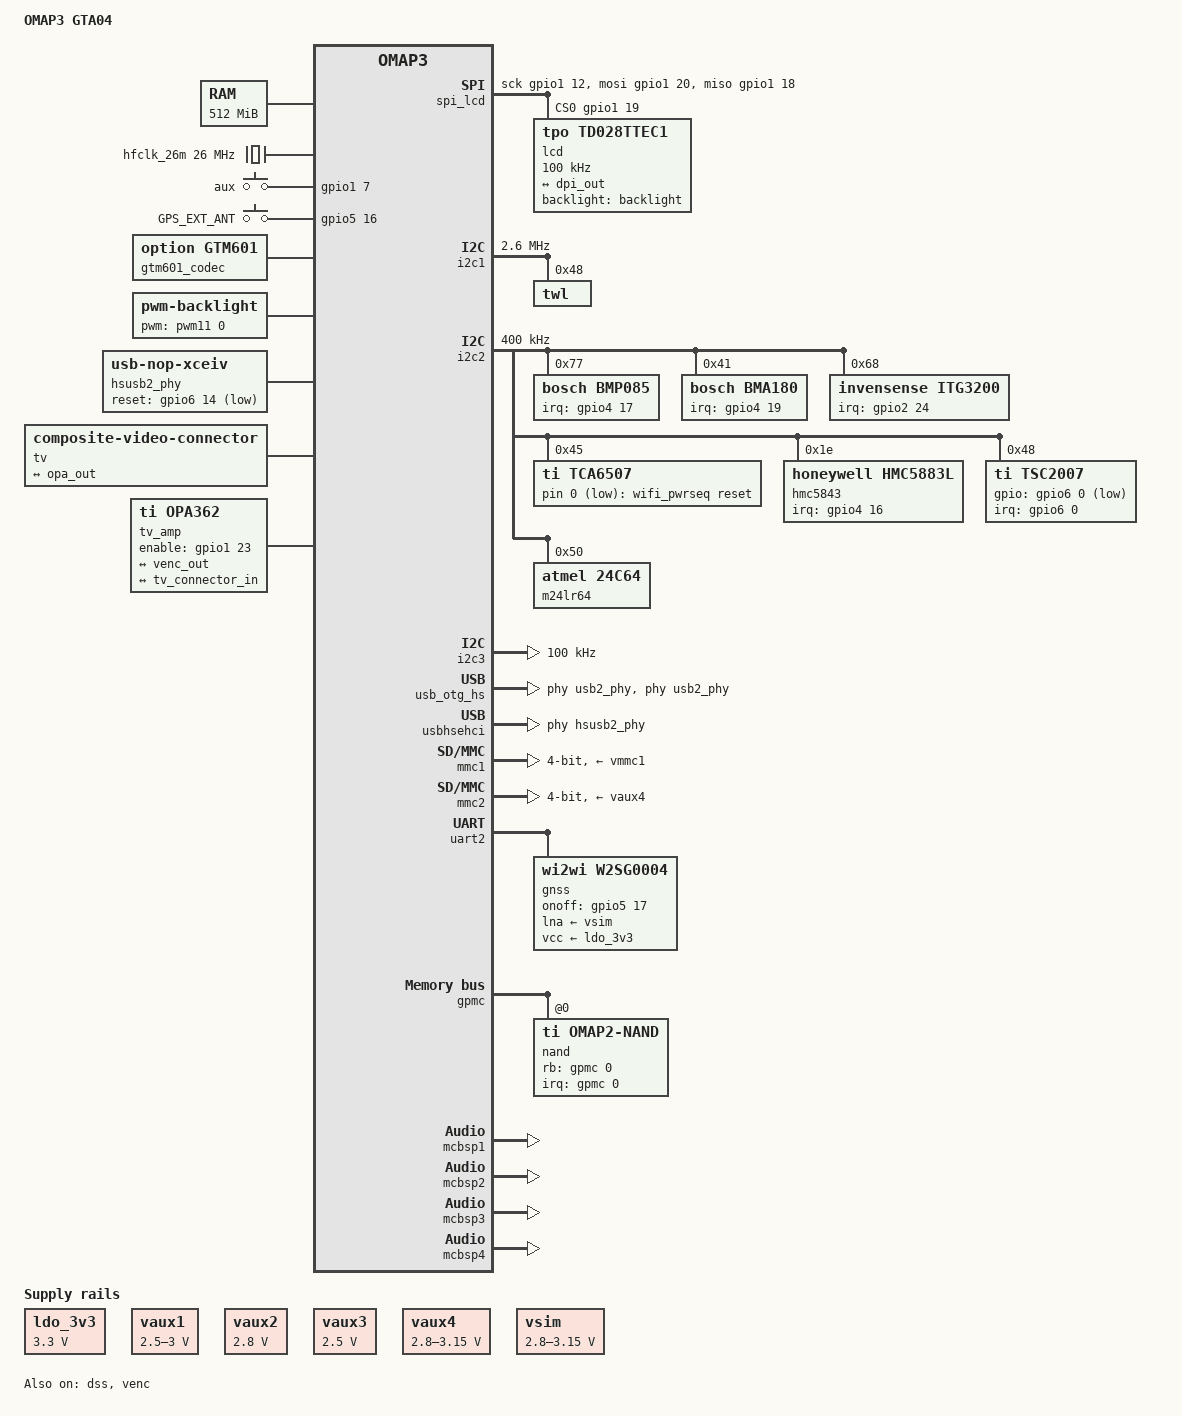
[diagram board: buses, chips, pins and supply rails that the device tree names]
// SPDX-License-Identifier: GPL-2.0-only
/*
 * Copyright (C) 2013 Marek Belisko <marek@goldelico.com>
 *
 * Based on omap3-beagle-xm.dts
 */
/dts-v1/;

#include "omap36xx.dtsi"
#include <dt-bindings/input/input.h>

/ {
	model = "OMAP3 GTA04";
	compatible = "ti,omap3-gta04", "ti,omap3630", "ti,omap36xx", "ti,omap3";

	cpus {
		cpu@0 {
			cpu0-supply = <&vcc>;
		};
	};

	memory@80000000 {
		device_type = "memory";
		reg = <0x80000000 0x20000000>; /* 512 MB */
	};

	chosen {
		stdout-path = &uart3;
	};

	aliases {
		display0 = &lcd;
		display1 = &tv0;
	};

	ldo_3v3: fixedregulator {
		compatible = "regulator-fixed";
		regulator-name = "ldo_3v3";
		regulator-min-microvolt = <3300000>;
		regulator-max-microvolt = <3300000>;
		regulator-always-on;
	};

	/* fixed 26MHz oscillator */
	hfclk_26m: oscillator {
		#clock-cells = <0>;
		compatible = "fixed-clock";
		clock-frequency = <26000000>;
	};

	gpio-keys {
		compatible = "gpio-keys";

		aux-button {
			label = "aux";
			linux,code = <KEY_PHONE>;
			gpios = <&gpio1 7 GPIO_ACTIVE_HIGH>;
			wakeup-source;
		};
	};

	antenna-detect {
		compatible = "gpio-keys";

		gps_antenna_button: gps-antenna-button {
			label = "GPS_EXT_ANT";
			linux,input-type = <EV_SW>;
			linux,code = <SW_LINEIN_INSERT>;
			gpios = <&gpio5 16 GPIO_ACTIVE_HIGH>; /* GPIO144 */
			interrupt-parent = <&gpio5>;
			interrupts = <16 IRQ_TYPE_EDGE_BOTH>;
			debounce-interval = <10>;
			wakeup-source;
		};
	};

	sound {
		compatible = "ti,omap-twl4030";
		ti,model = "gta04";

		ti,mcbsp = <&mcbsp2>;
	};

	/* GSM audio */
	sound_telephony {
		compatible = "simple-audio-card";
		simple-audio-card,name = "GTA04 voice";
		simple-audio-card,bitclock-master = <&telephony_link_master>;
		simple-audio-card,frame-master = <&telephony_link_master>;
		simple-audio-card,format = "i2s";
		simple-audio-card,bitclock-inversion;
		simple-audio-card,frame-inversion;
		simple-audio-card,cpu {
			sound-dai = <&mcbsp4>;
		};

		telephony_link_master: simple-audio-card,codec {
			sound-dai = <&gtm601_codec>;
		};
	};

	gtm601_codec: gsm_codec {
		compatible = "option,gtm601";
		#sound-dai-cells = <0>;
	};

	spi_lcd: spi_lcd {
		compatible = "spi-gpio";
		#address-cells = <0x1>;
		#size-cells = <0x0>;
		pinctrl-names = "default";
		pinctrl-0 = <&spi_gpio_pins>;

		gpio-sck = <&gpio1 12 GPIO_ACTIVE_HIGH>;
		gpio-miso = <&gpio1 18 GPIO_ACTIVE_HIGH>;
		gpio-mosi = <&gpio1 20 GPIO_ACTIVE_HIGH>;
		cs-gpios = <&gpio1 19 GPIO_ACTIVE_HIGH>;
		num-chipselects = <1>;

		/* lcd panel */
		lcd: td028ttec1@0 {
			compatible = "tpo,td028ttec1";
			reg = <0>;
			spi-max-frequency = <100000>;
			spi-cpol;
			spi-cpha;
			spi-cs-high;

			backlight= <&backlight>;
			label = "lcd";
			port {
				lcd_in: endpoint {
					remote-endpoint = <&dpi_out>;
				};
			};
		};
	};

	backlight: backlight {
		compatible = "pwm-backlight";
		pwms = <&pwm11 0 12000000 0>;
		pwm-names = "backlight";
		brightness-levels = <0 11 20 30 40 50 60 70 80 90 100>;
		default-brightness-level = <9>;	/* => 90 */
		pinctrl-names = "default";
		pinctrl-0 = <&backlight_pins>;
	};

	pwm11: dmtimer-pwm {
		compatible = "ti,omap-dmtimer-pwm";
		ti,timers = <&timer11>;
		#pwm-cells = <3>;
	};

	hsusb2_phy: hsusb2_phy {
		compatible = "usb-nop-xceiv";
		reset-gpios = <&gpio6 14 GPIO_ACTIVE_LOW>;
		#phy-cells = <0>;
	};

	tv0: connector {
		compatible = "composite-video-connector";
		label = "tv";

		port {
			tv_connector_in: endpoint {
				remote-endpoint = <&opa_out>;
			};
		};
	};

	tv_amp: opa362 {
		compatible = "ti,opa362";
		enable-gpios = <&gpio1 23 GPIO_ACTIVE_HIGH>;	/* GPIO_23 to enable video out amplifier */

		ports {
			#address-cells = <1>;
			#size-cells = <0>;

			port@0 {
				reg = <0>;
				opa_in: endpoint {
					remote-endpoint = <&venc_out>;
				};
			};

			port@1 {
				reg = <1>;
				opa_out: endpoint {
					remote-endpoint = <&tv_connector_in>;
				};
			};
		};
	};

	wifi_pwrseq: wifi_pwrseq {
		compatible = "mmc-pwrseq-simple";
		reset-gpios = <&tca6507 0 GPIO_ACTIVE_LOW>;	/* W2CBW003 reset through tca6507 */
	};

	/* devconf0 setup for mcbsp1 clock pins */
	pinmux_mcbsp1@48002274 {
		compatible = "pinctrl-single";
		reg = <0x48002274 4>;   /* CONTROL_DEVCONF0 */
		#address-cells = <1>;
		#size-cells = <0>;
		pinctrl-single,bit-per-mux;
		pinctrl-single,register-width = <32>;
		pinctrl-single,function-mask = <0x7>;	/* MCBSP1 CLK pinmux */
		#pinctrl-cells = <2>;
		pinctrl-names = "default";
		pinctrl-0 = <&mcbsp1_devconf0_pins>;
		mcbsp1_devconf0_pins: pinmux_mcbsp1_devconf0_pins {
			/*                   offset bits mask */
			pinctrl-single,bits = <0x00 0x08 0x1c>;	/* set MCBSP1_CLKR */
		};
	};

	/* devconf1 setup for tvout pins */
	pinmux_tv_out@480022d8 {
		compatible = "pinctrl-single";
		reg = <0x480022d8 4>;	/* CONTROL_DEVCONF1 */
		#address-cells = <1>;
		#size-cells = <0>;
		pinctrl-single,bit-per-mux;
		pinctrl-single,register-width = <32>;
		pinctrl-single,function-mask = <0x81>;	/* TV out pin control */
		#pinctrl-cells = <2>;
		pinctrl-names = "default";
		pinctrl-0 = <&tv_acbias_devconf1_pins>;
		tv_acbias_devconf1_pins: pinmux_tv_acbias_devconf1_pins {
			/*			offset	bits	mask */
			pinctrl-single,bits = <0x00 0x40800 0x40800>;	/* set TVOUTBYPASS and TVOUTACEN */
		};
	};
};

&omap3_pmx_wkup {
	gpio1_pins: pinmux_gpio1_pins {
		pinctrl-single,pins = <
			OMAP3_WKUP_IOPAD(0x2a14, PIN_INPUT | PIN_OFF_WAKEUPENABLE | MUX_MODE4) /* sys_boot5.gpio_7 */
			OMAP3_WKUP_IOPAD(0x2a1a, PIN_INPUT | PIN_OFF_WAKEUPENABLE | MUX_MODE4) /* sys_clkout.gpio_10 */
		>;
	};
};

&omap3_pmx_core {
	pinctrl-names = "default";
	pinctrl-0 = <
			&hsusb2_pins
	>;

	hsusb2_pins: pinmux_hsusb2_pins {
		pinctrl-single,pins = <
			OMAP3_CORE1_IOPAD(0x21d4, PIN_INPUT_PULLDOWN | MUX_MODE3)	/* mcspi1_cs3.hsusb2_data2 */
			OMAP3_CORE1_IOPAD(0x21d6, PIN_INPUT_PULLDOWN | MUX_MODE3)	/* mcspi2_clk.hsusb2_data7 */
			OMAP3_CORE1_IOPAD(0x21d8, PIN_INPUT_PULLDOWN | MUX_MODE3)	/* mcspi2_simo.hsusb2_data4 */
			OMAP3_CORE1_IOPAD(0x21da, PIN_INPUT_PULLDOWN | MUX_MODE3)	/* mcspi2_somi.hsusb2_data5 */
			OMAP3_CORE1_IOPAD(0x21dc, PIN_INPUT_PULLDOWN | MUX_MODE3)	/* mcspi2_cs0.hsusb2_data6 */
			OMAP3_CORE1_IOPAD(0x21de, PIN_INPUT_PULLDOWN | MUX_MODE3)	/* mcspi2_cs1.hsusb2_data3 */
		>;
	};

	uart1_pins: pinmux_uart1_pins {
		pinctrl-single,pins = <
			OMAP3_CORE1_IOPAD(0x2182, PIN_INPUT | MUX_MODE0)		/* uart1_rx.uart1_rx */
			OMAP3_CORE1_IOPAD(0x217c, PIN_OUTPUT | MUX_MODE0)		/* uart1_tx.uart1_tx */
		>;
	};

	uart2_pins: pinmux_uart2_pins {
		pinctrl-single,pins = <
			OMAP3_CORE1_IOPAD(0x217a, PIN_INPUT | MUX_MODE0)		/* uart2_rx.uart2_rx */
			OMAP3_CORE1_IOPAD(0x2178, PIN_OUTPUT | MUX_MODE0)		/* uart2_tx.uart2_tx */
		>;
	};

	uart3_pins: pinmux_uart3_pins {
		pinctrl-single,pins = <
			OMAP3_CORE1_IOPAD(0x219e, PIN_INPUT | MUX_MODE0)		/* uart3_rx.uart3_rx */
			OMAP3_CORE1_IOPAD(0x21a0, PIN_OUTPUT | MUX_MODE0)		/* uart3_tx.uart3_tx */
		>;
	};

	mmc1_pins: pinmux_mmc1_pins {
		pinctrl-single,pins = <
			OMAP3_CORE1_IOPAD(0x2144, PIN_INPUT_PULLUP | MUX_MODE0)		/* sdmmc1_clk.sdmmc1_clk */
			OMAP3_CORE1_IOPAD(0x2146, PIN_INPUT_PULLUP | MUX_MODE0)		/* sdmmc1_cmd.sdmmc1_cmd */
			OMAP3_CORE1_IOPAD(0x2148, PIN_INPUT_PULLUP | MUX_MODE0)		/* sdmmc1_dat0.sdmmc1_dat0 */
			OMAP3_CORE1_IOPAD(0x214a, PIN_INPUT_PULLUP | MUX_MODE0)		/* sdmmc1_dat1.sdmmc1_dat1 */
			OMAP3_CORE1_IOPAD(0x214c, PIN_INPUT_PULLUP | MUX_MODE0)		/* sdmmc1_dat2.sdmmc1_dat2 */
			OMAP3_CORE1_IOPAD(0x214e, PIN_INPUT_PULLUP | MUX_MODE0)		/* sdmmc1_dat3.sdmmc1_dat3 */
		>;
	};

	backlight_pins: backlight_pins_pinmux {
		pinctrl-single,pins = <
			OMAP3_CORE1_IOPAD(0x20ba, MUX_MODE3)		/* gpt11/gpio57 */
		>;
	};

	dss_dpi_pins: pinmux_dss_dpi_pins {
		pinctrl-single,pins = <
			OMAP3_CORE1_IOPAD(0x20d4, PIN_OUTPUT | MUX_MODE0)   /* dss_pclk.dss_pclk */
			OMAP3_CORE1_IOPAD(0x20d6, PIN_OUTPUT | MUX_MODE0)   /* dss_hsync.dss_hsync */
			OMAP3_CORE1_IOPAD(0x20d8, PIN_OUTPUT | MUX_MODE0)   /* dss_vsync.dss_vsync */
			OMAP3_CORE1_IOPAD(0x20da, PIN_OUTPUT | MUX_MODE0)   /* dss_acbias.dss_acbias */
			OMAP3_CORE1_IOPAD(0x20dc, PIN_OUTPUT | MUX_MODE0)   /* dss_data0.dss_data0 */
			OMAP3_CORE1_IOPAD(0x20de, PIN_OUTPUT | MUX_MODE0)   /* dss_data1.dss_data1 */
			OMAP3_CORE1_IOPAD(0x20e0, PIN_OUTPUT | MUX_MODE0)   /* dss_data2.dss_data2 */
			OMAP3_CORE1_IOPAD(0x20e2, PIN_OUTPUT | MUX_MODE0)   /* dss_data3.dss_data3 */
			OMAP3_CORE1_IOPAD(0x20e4, PIN_OUTPUT | MUX_MODE0)   /* dss_data4.dss_data4 */
			OMAP3_CORE1_IOPAD(0x20e6, PIN_OUTPUT | MUX_MODE0)   /* dss_data5.dss_data5 */
			OMAP3_CORE1_IOPAD(0x20e8, PIN_OUTPUT | MUX_MODE0)   /* dss_data6.dss_data6 */
			OMAP3_CORE1_IOPAD(0x20ea, PIN_OUTPUT | MUX_MODE0)   /* dss_data7.dss_data7 */
			OMAP3_CORE1_IOPAD(0x20ec, PIN_OUTPUT | MUX_MODE0)   /* dss_data8.dss_data8 */
			OMAP3_CORE1_IOPAD(0x20ee, PIN_OUTPUT | MUX_MODE0)   /* dss_data9.dss_data9 */
			OMAP3_CORE1_IOPAD(0x20f0, PIN_OUTPUT | MUX_MODE0)   /* dss_data10.dss_data10 */
			OMAP3_CORE1_IOPAD(0x20f2, PIN_OUTPUT | MUX_MODE0)   /* dss_data11.dss_data11 */
			OMAP3_CORE1_IOPAD(0x20f4, PIN_OUTPUT | MUX_MODE0)   /* dss_data12.dss_data12 */
			OMAP3_CORE1_IOPAD(0x20f6, PIN_OUTPUT | MUX_MODE0)   /* dss_data13.dss_data13 */
			OMAP3_CORE1_IOPAD(0x20f8, PIN_OUTPUT | MUX_MODE0)   /* dss_data14.dss_data14 */
			OMAP3_CORE1_IOPAD(0x20fa, PIN_OUTPUT | MUX_MODE0)   /* dss_data15.dss_data15 */
			OMAP3_CORE1_IOPAD(0x20fc, PIN_OUTPUT | MUX_MODE0)   /* dss_data16.dss_data16 */
			OMAP3_CORE1_IOPAD(0x20fe, PIN_OUTPUT | MUX_MODE0)   /* dss_data17.dss_data17 */
			OMAP3_CORE1_IOPAD(0x2100, PIN_OUTPUT | MUX_MODE0)   /* dss_data18.dss_data18 */
			OMAP3_CORE1_IOPAD(0x2102, PIN_OUTPUT | MUX_MODE0)   /* dss_data19.dss_data19 */
			OMAP3_CORE1_IOPAD(0x2104, PIN_OUTPUT | MUX_MODE0)   /* dss_data20.dss_data20 */
			OMAP3_CORE1_IOPAD(0x2106, PIN_OUTPUT | MUX_MODE0)   /* dss_data21.dss_data21 */
			OMAP3_CORE1_IOPAD(0x2108, PIN_OUTPUT | MUX_MODE0)   /* dss_data22.dss_data22 */
			OMAP3_CORE1_IOPAD(0x210a, PIN_OUTPUT | MUX_MODE0)   /* dss_data23.dss_data23 */
		>;
       };

	gps_pins: pinmux_gps_pins {
		pinctrl-single,pins = <
			OMAP3_CORE1_IOPAD(0x2176, PIN_OUTPUT_PULLDOWN | MUX_MODE4) /* gpio145 */
		>;
	};

	hdq_pins: hdq_pins {
		pinctrl-single,pins = <
			OMAP3_CORE1_IOPAD(0x21c6, PIN_INPUT_PULLUP | MUX_MODE0) /* i2c3_sda.hdq */
		>;
	};

	bmp085_pins: pinmux_bmp085_pins {
		pinctrl-single,pins = <
			OMAP3_CORE1_IOPAD(0x2136, PIN_INPUT_PULLUP | MUX_MODE4) /* gpio113 */
		>;
	};

	bma180_pins: pinmux_bma180_pins {
		pinctrl-single,pins = <
			OMAP3_CORE1_IOPAD(0x213a, PIN_INPUT_PULLUP | MUX_MODE4) /* gpio115 */
		>;
	};

	itg3200_pins: pinmux_itg3200_pins {
		pinctrl-single,pins = <
			OMAP3_CORE1_IOPAD(0x20b8, PIN_INPUT_PULLUP | MUX_MODE4) /* gpio56 */
		>;
	};

	hmc5843_pins: pinmux_hmc5843_pins {
		pinctrl-single,pins = <
			OMAP3_CORE1_IOPAD(0x2134, PIN_INPUT_PULLUP | MUX_MODE4) /* gpio112 */
		>;
	};

	penirq_pins: pinmux_penirq_pins {
		pinctrl-single,pins = <
			/* here we could enable to wakeup the cpu from suspend by a pen touch */
			OMAP3_CORE1_IOPAD(0x2194, PIN_INPUT_PULLUP | MUX_MODE4) /* gpio160 */
		>;
	};

	camera_pins: pinmux_camera_pins {
		pinctrl-single,pins = <
			/* set up parallel camera interface */
			OMAP3_CORE1_IOPAD(0x210c, PIN_INPUT_PULLDOWN | MUX_MODE0) /* cam_hs */
			OMAP3_CORE1_IOPAD(0x210e, PIN_INPUT_PULLDOWN | MUX_MODE0) /* cam_vs */
			OMAP3_CORE1_IOPAD(0x2110, PIN_OUTPUT | MUX_MODE0) /* cam_xclka */
			OMAP3_CORE1_IOPAD(0x2112, PIN_INPUT_PULLDOWN | MUX_MODE0) /* cam_pclk */
			OMAP3_CORE1_IOPAD(0x2114, PIN_OUTPUT | MUX_MODE4) /* cam_fld = gpio_98 */
			OMAP3_CORE1_IOPAD(0x2116, PIN_INPUT_PULLDOWN | MUX_MODE0) /* cam_d0 */
			OMAP3_CORE1_IOPAD(0x2118, PIN_INPUT_PULLDOWN | MUX_MODE0) /* cam_d1 */
			OMAP3_CORE1_IOPAD(0x211a, PIN_INPUT_PULLDOWN | MUX_MODE0) /* cam_d2 */
			OMAP3_CORE1_IOPAD(0x211c, PIN_INPUT_PULLDOWN | MUX_MODE0) /* cam_d3 */
			OMAP3_CORE1_IOPAD(0x211e, PIN_INPUT_PULLDOWN | MUX_MODE0) /* cam_d4 */
			OMAP3_CORE1_IOPAD(0x2120, PIN_INPUT_PULLDOWN | MUX_MODE0) /* cam_d5 */
			OMAP3_CORE1_IOPAD(0x2122, PIN_INPUT_PULLDOWN | MUX_MODE0) /* cam_d6 */
			OMAP3_CORE1_IOPAD(0x2124, PIN_INPUT_PULLDOWN | MUX_MODE0) /* cam_d7 */
			OMAP3_CORE1_IOPAD(0x2126, PIN_INPUT_PULLDOWN | MUX_MODE0) /* cam_d8 */
			OMAP3_CORE1_IOPAD(0x2128, PIN_INPUT_PULLDOWN | MUX_MODE0) /* cam_d9 */
			OMAP3_CORE1_IOPAD(0x212a, PIN_INPUT_PULLDOWN | MUX_MODE0) /* cam_d10 */
			OMAP3_CORE1_IOPAD(0x212c, PIN_INPUT_PULLDOWN | MUX_MODE0) /* cam_d10 */
			OMAP3_CORE1_IOPAD(0x212e, PIN_OUTPUT | MUX_MODE0) /* cam_xclkb */
			OMAP3_CORE1_IOPAD(0x2130, PIN_OUTPUT | MUX_MODE4) /* cam_wen = gpio_167 */
			OMAP3_CORE1_IOPAD(0x2132, PIN_INPUT_PULLDOWN | MUX_MODE4) /* cam_strobe */
		>;
	};

	mcbsp1_pins: pinmux_mcbsp1_pins {
		pinctrl-single,pins = <
			OMAP3_CORE1_IOPAD(0x218c, PIN_INPUT | MUX_MODE4)	/* mcbsp1_clkr.mcbsp1_clkr - gpio_156 FM interrupt */
			OMAP3_CORE1_IOPAD(0x218e, PIN_OUTPUT | MUX_MODE0)	/* mcbsp1_clkr.mcbsp1_fsr */
			OMAP3_CORE1_IOPAD(0x2190, PIN_OUTPUT | MUX_MODE0)	/* mcbsp1_dx.mcbsp1_dx */
			OMAP3_CORE1_IOPAD(0x2192, PIN_INPUT | MUX_MODE0)	/* mcbsp1_dx.mcbsp1_dr */
			/* mcbsp_clks is used as PENIRQ */
			/* OMAP3_CORE1_IOPAD(0x2194, PIN_INPUT | MUX_MODE0)	   mcbsp_clks.mcbsp_clks */
			OMAP3_CORE1_IOPAD(0x2196, PIN_INPUT | MUX_MODE0)	/* mcbsp_clks.mcbsp1_fsx */
			OMAP3_CORE1_IOPAD(0x2198, PIN_INPUT | MUX_MODE0)	/* mcbsp1_clkx.mcbsp1_clkx */
		>;
	};

	mcbsp2_pins: pinmux_mcbsp2_pins {
		pinctrl-single,pins = <
			OMAP3_CORE1_IOPAD(0x213c, PIN_INPUT | MUX_MODE0)	/* mcbsp2_fsx.mcbsp2_fsx */
			OMAP3_CORE1_IOPAD(0x213e, PIN_INPUT | MUX_MODE0)	/* mcbsp2_fsx.mcbsp2_clkx */
			OMAP3_CORE1_IOPAD(0x2140, PIN_INPUT | MUX_MODE0)	/* mcbsp2_dr.mcbsp2_dr */
			OMAP3_CORE1_IOPAD(0x2142, PIN_OUTPUT | MUX_MODE0)	/* mcbsp2_dr.mcbsp2_dx */
		>;
	};

	mcbsp3_pins: pinmux_mcbsp3_pins {
		pinctrl-single,pins = <
			OMAP3_CORE1_IOPAD(0x216c, PIN_OUTPUT | MUX_MODE0)	/* mcbsp3_dx.mcbsp3_dx */
			OMAP3_CORE1_IOPAD(0x216e, PIN_INPUT | MUX_MODE0)	/* mcbsp3_dx.mcbsp3_dr */
			OMAP3_CORE1_IOPAD(0x2170, PIN_INPUT | MUX_MODE0)	/* mcbsp3_clkx.mcbsp3_clkx */
			OMAP3_CORE1_IOPAD(0x2172, PIN_INPUT | MUX_MODE0)	/* mcbsp3_clkx.mcbsp3_fsx */
		>;
	};

	mcbsp4_pins: pinmux_mcbsp4_pins {
		pinctrl-single,pins = <
			OMAP3_CORE1_IOPAD(0x2184, PIN_INPUT_PULLDOWN | MUX_MODE0)	/* mcbsp4_clkx.mcbsp4_clkx */
			OMAP3_CORE1_IOPAD(0x2186, PIN_INPUT_PULLDOWN | MUX_MODE0)	/* mcbsp4_clkx.mcbsp4_dr */
			OMAP3_CORE1_IOPAD(0x218a, PIN_INPUT_PULLDOWN | MUX_MODE0)	/* mcbsp4_dx.mcbsp4_fsx */
		>;
	};
};

&omap3_pmx_core2 {
	pinctrl-names = "default";
	pinctrl-0 = <
			&hsusb2_2_pins
	>;

	hsusb2_2_pins: pinmux_hsusb2_2_pins {
		pinctrl-single,pins = <
			OMAP3630_CORE2_IOPAD(0x25f0, PIN_OUTPUT | MUX_MODE3)		/* etk_d10.hsusb2_clk */
			OMAP3630_CORE2_IOPAD(0x25f2, PIN_OUTPUT | MUX_MODE3)		/* etk_d11.hsusb2_stp */
			OMAP3630_CORE2_IOPAD(0x25f4, PIN_INPUT_PULLDOWN | MUX_MODE3)	/* etk_d12.hsusb2_dir */
			OMAP3630_CORE2_IOPAD(0x25f6, PIN_INPUT_PULLDOWN | MUX_MODE3)	/* etk_d13.hsusb2_nxt */
			OMAP3630_CORE2_IOPAD(0x25f8, PIN_INPUT_PULLDOWN | MUX_MODE3)	/* etk_d14.hsusb2_data0 */
			OMAP3630_CORE2_IOPAD(0x25fa, PIN_INPUT_PULLDOWN | MUX_MODE3)	/* etk_d15.hsusb2_data1 */
		>;
	};

	spi_gpio_pins: spi_gpio_pinmux {
		pinctrl-single,pins = <
			OMAP3630_CORE2_IOPAD(0x25d8, PIN_OUTPUT | MUX_MODE4) /* clk */
			OMAP3630_CORE2_IOPAD(0x25e6, PIN_OUTPUT | MUX_MODE4) /* cs */
			OMAP3630_CORE2_IOPAD(0x25e8, PIN_OUTPUT | MUX_MODE4) /* tx */
			OMAP3630_CORE2_IOPAD(0x25e4, PIN_INPUT | MUX_MODE4) /* rx */
		>;
	};
};

&i2c1 {
	clock-frequency = <2600000>;

	twl: twl@48 {
		reg = <0x48>;
		interrupts = <7>; /* SYS_NIRQ cascaded to intc */
		interrupt-parent = <&intc>;

		clocks = <&hfclk_26m>;
		clock-names = "fck";

		twl_audio: audio {
			compatible = "ti,twl4030-audio";
			ti,enable-vibra = <1>;
			codec {
				ti,ramp_delay_value = <3>;
			};
		};

		twl_power: power {
			compatible = "ti,twl4030-power";
			ti,use_poweroff;
		};
	};
};

#include "twl4030.dtsi"
#include "twl4030_omap3.dtsi"

&i2c2 {
	clock-frequency = <400000>;

	/* pressure sensor */
	bmp085@77 {
		compatible = "bosch,bmp085";
		reg = <0x77>;
		pinctrl-names = "default";
		pinctrl-0 = <&bmp085_pins>;
		interrupt-parent = <&gpio4>;
		interrupts = <17 IRQ_TYPE_EDGE_RISING>; /* GPIO_113 */
	};

	/* accelerometer */
	bma180@41 {
		compatible = "bosch,bma180";
		reg = <0x41>;
		pinctrl-names = "default";
		pintcrl-0 = <&bma180_pins>;
		interrupt-parent = <&gpio4>;
		interrupts = <19 IRQ_TYPE_LEVEL_HIGH>; /* GPIO_115 */
	};

	/* gyroscope */
	itg3200@68 {
		compatible = "invensense,itg3200";
		reg = <0x68>;
		pinctrl-names = "default";
		pinctrl-0 = <&itg3200_pins>;
		interrupt-parent = <&gpio2>;
		interrupts = <24 IRQ_TYPE_EDGE_FALLING>; /* GPIO_56 */
	};

	/* leds + gpios */
	tca6507: tca6507@45 {
		compatible = "ti,tca6507";
		#address-cells = <1>;
		#size-cells = <0>;
		reg = <0x45>;

		gpio-controller;
		#gpio-cells = <2>;

		gta04_led0: red_aux@0 {
			label = "gta04:red:aux";
			reg = <0x0>;
		};

		gta04_led1: green_aux@1 {
			label = "gta04:green:aux";
			reg = <0x1>;
		};

		gta04_led3: red_power@3 {
			label = "gta04:red:power";
			reg = <0x3>;
			linux,default-trigger = "default-on";
		};

		gta04_led4: green_power@4 {
			label = "gta04:green:power";
			reg = <0x4>;
		};

		wifi_reset: wifi_reset@6 { /* reference as <&tca_gpios 0 0> since it is currently the only GPIO */
			reg = <0x6>;
			compatible = "gpio";
		};
	};

	/* compass aka magnetometer */
	hmc5843@1e {
		compatible = "honeywell,hmc5883l";
		reg = <0x1e>;
		pinctrl-names = "default";
		pinctrl-0 = <&hmc5843_pins>;
		interrupt-parent = <&gpio4>;
		interrupts = <16 IRQ_TYPE_EDGE_FALLING>;	/* gpio112 */
	};

	/* touchscreen */
	tsc2007@48 {
		compatible = "ti,tsc2007";
		reg = <0x48>;
		pinctrl-names = "default";
		pinctrl-0 = <&penirq_pins>;
		interrupt-parent = <&gpio6>;
		interrupts = <0 IRQ_TYPE_EDGE_FALLING>; /* GPIO_160 */
		gpios = <&gpio6 0 GPIO_ACTIVE_LOW>;	/* GPIO_160 */
		ti,x-plate-ohms = <600>;
		touchscreen-size-x = <480>;
		touchscreen-size-y = <640>;
		touchscreen-max-pressure = <1000>;
		touchscreen-fuzz-x = <3>;
		touchscreen-fuzz-y = <8>;
		touchscreen-fuzz-pressure = <10>;
		touchscreen-inverted-y;
	};

	/* RFID EEPROM */
	m24lr64@50 {
		compatible = "atmel,24c64";
		reg = <0x50>;
	};
};

&i2c3 {
	clock-frequency = <100000>;
};

&usb_otg_hs {
	interface-type = <0>;
	usb-phy = <&usb2_phy>;
	phys = <&usb2_phy>;
	phy-names = "usb2-phy";
	mode = <3>;
	power = <50>;
};

&usbhshost {
	port2-mode = "ehci-phy";
};

&usbhsehci {
	phys = <0 &hsusb2_phy>;
};

&mmc1 {
	pinctrl-names = "default";
	pinctrl-0 = <&mmc1_pins>;
	vmmc-supply = <&vmmc1>;
	bus-width = <4>;
	ti,non-removable;
	broken-cd;	/* hardware has no CD */
};

&mmc2 {
	vmmc-supply = <&vaux4>;
	bus-width = <4>;
	ti,non-removable;
	cap-power-off-card;
	mmc-pwrseq = <&wifi_pwrseq>;
};

&mmc3 {
	status = "disabled";
};

#define BIT(x) (1 << (x))
&twl_gpio {
	/* pullups: BIT(2) */
	ti,pullups = <BIT(2)>;
	/*
	 * pulldowns:
	 * BIT(0),  BIT(1), BIT(6), BIT(7), BIT(8), BIT(13)
	 * BIT(15), BIT(16), BIT(17)
	 */
	ti,pulldowns = <(BIT(0) | BIT(1) | BIT(6) | BIT(7) | BIT(8) |
			 BIT(13) | BIT(15) | BIT(16) | BIT(17))>;
};

&twl_keypad {
	status = "disabled";
};

&gpio1 {
	pinctrl-names = "default";
	pinctrl-0 = <&gpio1_pins>;
};

&uart1 {
	pinctrl-names = "default";
	pinctrl-0 = <&uart1_pins>;
};

&uart2 {
	pinctrl-names = "default";
	pinctrl-0 = <&uart2_pins>;
	gnss: gnss {
		compatible = "wi2wi,w2sg0004";
		pinctrl-names = "default";
		pinctrl-0 = <&gps_pins>;
		sirf,onoff-gpios = <&gpio5 17 GPIO_ACTIVE_HIGH>;
		lna-supply = <&vsim>;
		vcc-supply = <&ldo_3v3>;
	};
};

&uart3 {
	pinctrl-names = "default";
	pinctrl-0 = <&uart3_pins>;
	interrupts-extended = <&intc 74 &omap3_pmx_core OMAP3_UART3_RX>;
};

&charger {
	ti,bb-uvolt = <3200000>;
	ti,bb-uamp = <150>;
};

/* spare */
&vaux1 {
	regulator-min-microvolt = <2500000>;
	regulator-max-microvolt = <3000000>;
};

/* sensors */
&vaux2 {
	regulator-min-microvolt = <2800000>;
	regulator-max-microvolt = <2800000>;
	regulator-always-on;	/* we should never switch off while vio is on! */
};

/* camera */
&vaux3 {
	regulator-min-microvolt = <2500000>;
	regulator-max-microvolt = <2500000>;
};

/* WLAN/BT */
&vaux4 {
	regulator-min-microvolt = <2800000>;
	regulator-max-microvolt = <3150000>;
};

/* GPS LNA */
&vsim {
	regulator-min-microvolt = <2800000>;
	regulator-max-microvolt = <3150000>;
};

/* Needed to power the DPI pins */

&vpll2 {
	regulator-always-on;
};

&dss {
	pinctrl-names = "default";
	pinctrl-0 = < &dss_dpi_pins >;

	status = "okay";
	vdds_dsi-supply = <&vpll2>;

	port {
		dpi_out: endpoint {
			remote-endpoint = <&lcd_in>;
			data-lines = <24>;
		};
	};
};

&venc {
	status = "okay";

	vdda-supply = <&vdac>;

	port {
		venc_out: endpoint {
			remote-endpoint = <&opa_in>;
			ti,channels = <1>;
			ti,invert-polarity;
		};
	};
};

&gpmc {
	ranges = <0 0 0x30000000 0x1000000>; /* CS0: 16MB for NAND */

	nand@0,0 {
		compatible = "ti,omap2-nand";
		reg = <0 0 4>; /* CS0, offset 0, IO size 4 */
		interrupt-parent = <&gpmc>;
		interrupts = <0 IRQ_TYPE_NONE>, /* fifoevent */
			     <1 IRQ_TYPE_NONE>;	/* termcount */
		ti,nand-ecc-opt = "ham1";
		rb-gpios = <&gpmc 0 GPIO_ACTIVE_HIGH>; /* gpmc_wait0 */
		nand-bus-width = <16>;
		#address-cells = <1>;
		#size-cells = <1>;

		gpmc,device-width = <2>;
		gpmc,cs-on-ns = <0>;
		gpmc,cs-rd-off-ns = <44>;
		gpmc,cs-wr-off-ns = <44>;
		gpmc,adv-on-ns = <6>;
		gpmc,adv-rd-off-ns = <34>;
		gpmc,adv-wr-off-ns = <44>;
		gpmc,oe-off-ns = <54>;
		gpmc,we-off-ns = <40>;
		gpmc,access-ns = <64>;
		gpmc,rd-cycle-ns = <82>;
		gpmc,wr-cycle-ns = <82>;
		gpmc,wr-access-ns = <40>;
		gpmc,wr-data-mux-bus-ns = <0>;
		gpmc,sync-clk-ps = <0>;

		x-loader@0 {
			label = "X-Loader";
			reg = <0 0x80000>;
		};

		bootloaders@80000 {
			label = "U-Boot";
			reg = <0x80000 0x1c0000>;
		};

		bootloaders_env@240000 {
			label = "U-Boot Env";
			reg = <0x240000 0x40000>;
		};

		kernel@280000 {
			label = "Kernel";
			reg = <0x280000 0x600000>;
		};

		filesystem@880000 {
			label = "File System";
			reg = <0x880000 0>;	/* 0 = MTDPART_SIZ_FULL */
		};
	};
};

&mcbsp1 { /* FM Transceiver PCM */
	status = "ok";
	#sound-dai-cells = <0>;
	pinctrl-names = "default";
	pinctrl-0 = <&mcbsp1_pins>;
};

&mcbsp2 { /* TPS65950 I2S */
	status = "ok";
	pinctrl-names = "default";
	pinctrl-0 = <&mcbsp2_pins>;
};

&mcbsp3 { /* Bluetooth PCM */
	status = "ok";
	#sound-dai-cells = <0>;
	pinctrl-names = "default";
	pinctrl-0 = <&mcbsp3_pins>;
};

&mcbsp4 { /* GSM voice PCM */
	status = "ok";
	#sound-dai-cells = <0>;
	pinctrl-names = "default";
	pinctrl-0 = <&mcbsp4_pins>;
};

&hdqw1w {
        pinctrl-names = "default";
        pinctrl-0 = <&hdq_pins>;
};

/* image signal processor within OMAP3 SoC */
&isp {
	ports {
		port@0 {
			reg = <0>;
			parallel_ep: endpoint {
				ti,isp-clock-divisor = <1>;
				ti,strobe-mode;
				bus-width = <8>;/* Used data lines */
				data-shift = <2>; /* Lines 9:2 are used */
				hsync-active = <0>; /* Active low */
				vsync-active = <1>; /* Active high */
				data-active = <1>;/* Active high */
				pclk-sample = <1>;/* Falling */
			};
		};
		/* port@1 and port@2 are not used by GTA04 */
	};
};
